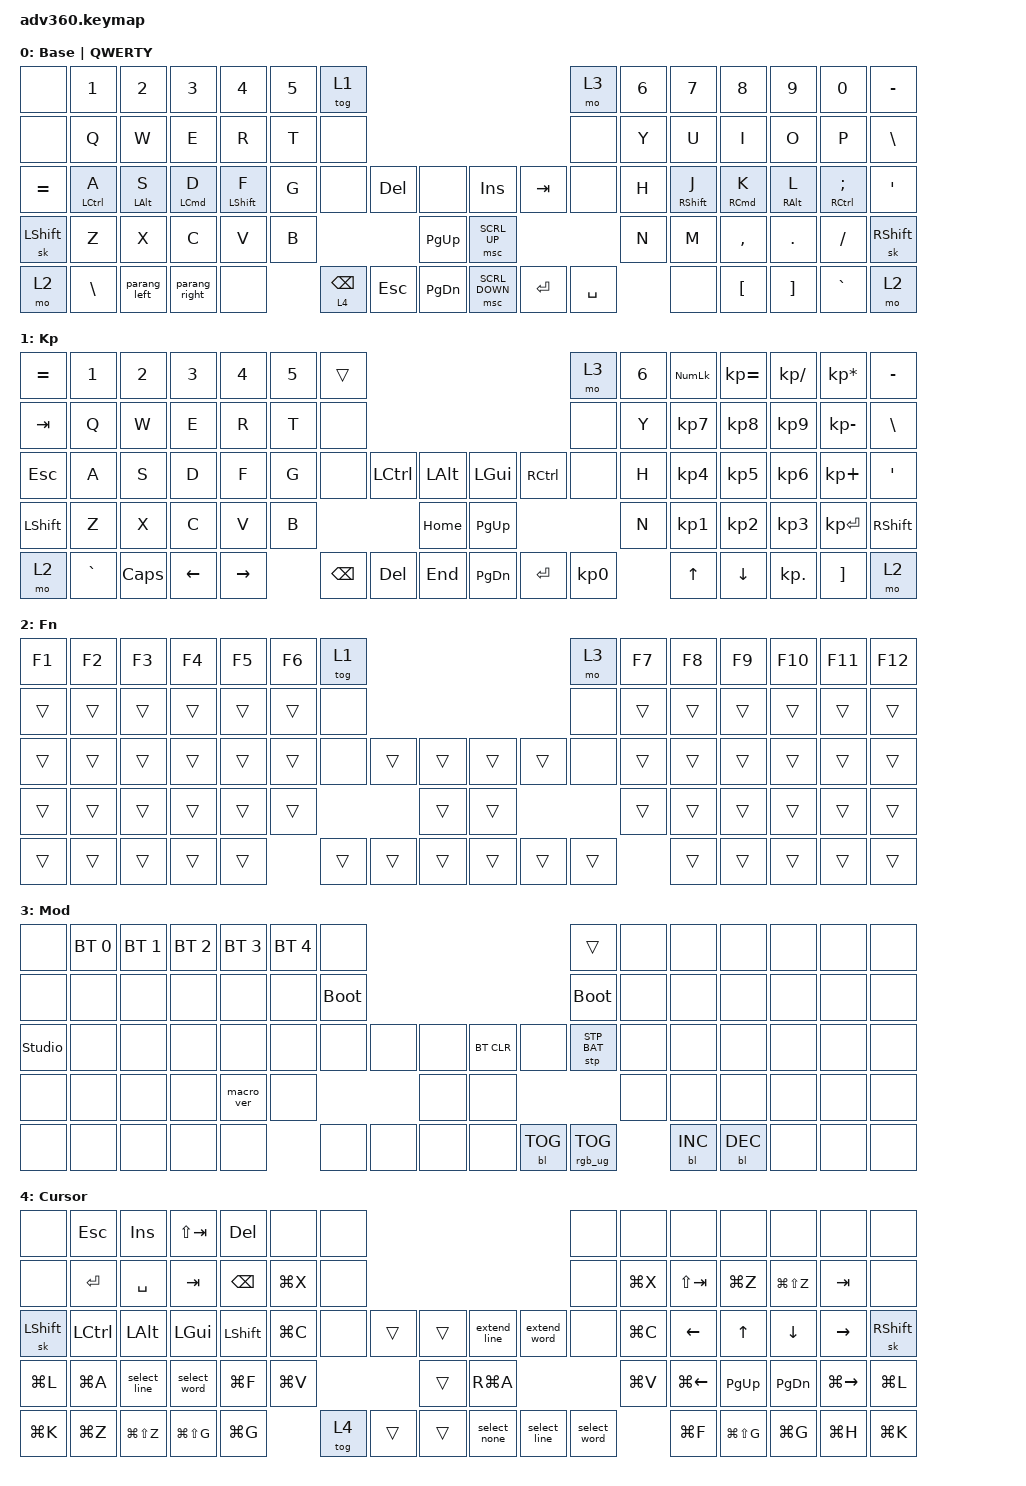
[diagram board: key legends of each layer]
#include <dt-bindings/zmk/stp.h>
#include <behaviors.dtsi>
#include <dt-bindings/zmk/backlight.h>
#include <dt-bindings/zmk/bt.h>
#include <dt-bindings/zmk/keys.h>
#include <dt-bindings/zmk/pointing.h>
#include <dt-bindings/zmk/rgb.h>

/ {
    behaviors {
        #include "macros.dtsi"
        #include "version.dtsi"

        hm: homerow_mods {
            compatible = "zmk,behavior-hold-tap";
            label = "HOMEROW_MODS";
            #binding-cells = <2>;
            tapping-term-ms = <200>;
            quick_tap_ms = <175>;
            flavor = "tap-preferred";
            bindings = <&kp>, <&kp>;
        };

        parang_left: parang_left {
            compatible = "zmk,behavior-mod-morph";
            label = "PARANG_LEFT";
            bindings = <&kp LEFT_PARENTHESIS>, <&kp LESS_THAN>;

            #binding-cells = <0>;
            mods = <(MOD_LSFT|MOD_RSFT)>;
        };

        parang_right: parang_right {
            compatible = "zmk,behavior-mod-morph";
            label = "PARANG_RIGHT";
            bindings = <&kp RIGHT_PARENTHESIS>, <&kp GREATER_THAN>;

            #binding-cells = <0>;
            mods = <(MOD_LSFT|MOD_RSFT)>;
        };

        select_word: select_word {
            compatible = "zmk,behavior-mod-morph";
            label = "SELECT_WORD";
            bindings = <&select_word_right>, <&select_word_left>;

            #binding-cells = <0>;
            mods = <(MOD_LSFT|MOD_RSFT)>;
        };

        select_line: select_line {
            compatible = "zmk,behavior-mod-morph";
            label = "SELECT_LINE";
            bindings = <&select_line_right>, <&select_line_left>;

            #binding-cells = <0>;
            mods = <(MOD_LSFT|MOD_RSFT)>;
        };

        extend_word: extend_word {
            compatible = "zmk,behavior-mod-morph";
            label = "EXTEND_WORD";
            #binding-cells = <0>;
            bindings = <&extend_word_right>, <&extend_word_left>;

            mods = <(MOD_LSFT|MOD_RSFT)>;
        };

        extend_line: extend_line {
            compatible = "zmk,behavior-mod-morph";
            label = "EXTEND_LINE";
            #binding-cells = <0>;
            bindings = <&extend_line_right>, <&extend_line_left>;

            mods = <(MOD_LSFT|MOD_RSFT)>;
        };

        thumb: thumb {
            compatible = "zmk,behavior-hold-tap";
            label = "THUMB";
            bindings = <&mo>, <&kp>;

            #binding-cells = <2>;
            tapping-term-ms = <250>;
            flavor = "balanced";
            quick-tap-ms = <350>;
        };
    };

    macros {
        select_none: select_none {
            compatible = "zmk,behavior-macro";
            #binding-cells = <0>;
            bindings = <&kp DOWN &kp UP &kp RIGHT &kp LEFT>;
            label = "SELECT_NONE";
            wait-ms = <1>;
            tap-ms = <1>;
        };

        select_line_right: select_line_right {
            compatible = "zmk,behavior-macro";
            #binding-cells = <0>;
            bindings = <&kp LG(LEFT) &kp LS(LG(RIGHT))>;
            label = "SELECT_LINE_RIGHT";
            wait-ms = <1>;
            tap-ms = <1>;
        };

        select_line_left: select_line_left {
            compatible = "zmk,behavior-macro";
            #binding-cells = <0>;
            bindings = <&kp RG(RIGHT) &kp LS(LG(LEFT))>;
            label = "SELECT_LINE_LEFT";
            wait-ms = <1>;
            tap-ms = <1>;
        };

        select_word_right: select_word_right {
            compatible = "zmk,behavior-macro";
            #binding-cells = <0>;
            bindings = <&kp LA(RIGHT) &kp LA(LEFT) &kp LS(LA(RIGHT))>;
            label = "SELECT_WORD_RIGHT";
            wait-ms = <1>;
            tap-ms = <1>;
        };

        select_word_left: select_word_left {
            compatible = "zmk,behavior-macro";
            #binding-cells = <0>;
            bindings = <&kp LA(LEFT) &kp LA(RIGHT) &kp LS(LA(LEFT))>;
            label = "SELECT_WORD_LEFT";
            wait-ms = <1>;
            tap-ms = <1>;
        };

        extend_word_right: extend_word_right {
            compatible = "zmk,behavior-macro";
            #binding-cells = <0>;
            bindings = <&kp LS(LA(RIGHT))>;
            label = "EXTEND_WORD_RIGHT";
            wait-ms = <1>;
            tap-ms = <1>;
        };

        extend_word_left: extend_word_left {
            compatible = "zmk,behavior-macro";
            #binding-cells = <0>;
            bindings = <&kp LS(LA(LEFT))>;
            label = "EXTEND_WORD_LEFT";
            wait-ms = <1>;
            tap-ms = <1>;
        };

        extend_line_right: extend_line_right {
            compatible = "zmk,behavior-macro";
            #binding-cells = <0>;
            bindings = <&kp LS(DOWN) &kp LS(LG(RIGHT))>;
            label = "EXTEND_LINE_RIGHT";
            wait-ms = <1>;
            tap-ms = <1>;
        };

        extend_line_left: extend_line_left {
            compatible = "zmk,behavior-macro";
            #binding-cells = <0>;
            bindings = <&kp LS(UP) &kp LS(LG(LEFT))>;
            label = "EXTEND_LINE_LEFT";
            wait-ms = <1>;
            tap-ms = <1>;
        };
    };

    keymap {
        compatible = "zmk,keymap";

        base {
            display-name = "Base | QWERTY";
            bindings = <
&none           &kp N1         &kp N2          &kp N3              &kp N4            &kp N5  &tog 1                                                                     &mo 3      &kp N6  &kp N7             &kp N8               &kp N9             &kp N0                  &kp MINUS
&none           &kp Q          &kp W           &kp E               &kp R             &kp T   &none                                                                      &none      &kp Y   &kp U              &kp I                &kp O              &kp P                   &kp BSLH
&kp EQUAL       &mt LCTRL A    &mt LEFT_ALT S  &mt LEFT_COMMAND D  &mt LEFT_SHIFT F  &kp G   &none            &kp DELETE  &none              &kp INSERT      &kp TAB    &none      &kp H   &mt RIGHT_SHIFT J  &mt RIGHT_COMMAND K  &mt RIGHT_ALT L    &mt RIGHT_CONTROL SEMI  &kp SQT
&sk LEFT_SHIFT  &kp Z          &kp X           &kp C               &kp V             &kp B                                &kp PAGE_UP        &msc SCRL_UP                          &kp N   &kp M              &kp COMMA            &kp DOT            &kp FSLH                &sk RIGHT_SHIFT
&mo 2           &kp BACKSLASH  &parang_left    &parang_right       &none                     &lt 4 BACKSPACE  &kp ESCAPE  &kp PAGE_DOWN      &msc SCRL_DOWN  &kp ENTER  &kp SPACE          &none              &kp LEFT_BRACKET     &kp RIGHT_BRACKET  &kp GRAVE               &mo 2
            >;
        };

        keypad {
            display-name = "Kp";
            bindings = <
&kp EQUAL  &kp N1     &kp N2    &kp N3    &kp N4     &kp N5  &trans                                                   &mo 3      &kp N6  &kp KP_NUM  &kp KP_EQUAL  &kp KP_DIVIDE  &kp KP_MULTIPLY  &kp MINUS
&kp TAB    &kp Q      &kp W     &kp E     &kp R      &kp T   &none                                                    &none      &kp Y   &kp KP_N7   &kp KP_N8     &kp KP_N9      &kp KP_MINUS     &kp BSLH
&kp ESC    &kp A      &kp S     &kp D     &kp F      &kp G   &none     &kp LCTRL  &kp LALT      &kp LGUI   &kp RCTRL  &none      &kp H   &kp KP_N4   &kp KP_N5     &kp KP_N6      &kp KP_PLUS      &kp SQT
&kp LSHFT  &kp Z      &kp X     &kp C     &kp V      &kp B                        &kp HOME      &kp PG_UP                        &kp N   &kp KP_N1   &kp KP_N2     &kp KP_N3      &kp KP_ENTER     &kp RSHFT
&mo 2      &kp GRAVE  &kp CAPS  &kp LEFT  &kp RIGHT          &kp BSPC  &kp DEL    &kp END       &kp PG_DN  &kp ENTER  &kp KP_N0          &kp UP      &kp DOWN      &kp KP_DOT     &kp RBKT         &mo 2
            >;
        };

        fn {
            display-name = "Fn";
            bindings = <
&kp F1  &kp F2  &kp F3  &kp F4  &kp F5  &kp F6  &tog 1                                      &mo 3   &kp F7  &kp F8  &kp F9  &kp F10  &kp F11  &kp F12
&trans  &trans  &trans  &trans  &trans  &trans  &none                                       &none   &trans  &trans  &trans  &trans   &trans   &trans
&trans  &trans  &trans  &trans  &trans  &trans  &none   &trans  &trans      &trans  &trans  &none   &trans  &trans  &trans  &trans   &trans   &trans
&trans  &trans  &trans  &trans  &trans  &trans                  &trans      &trans                  &trans  &trans  &trans  &trans   &trans   &trans
&trans  &trans  &trans  &trans  &trans          &trans  &trans  &trans      &trans  &trans  &trans          &trans  &trans  &trans   &trans   &trans
            >;
        };

        mod {
            display-name = "Mod";
            bindings = <
&none           &bt BT_SEL 0  &bt BT_SEL 1  &bt BT_SEL 2  &bt BT_SEL 3  &bt BT_SEL 4  &none                                                  &trans           &none  &none       &none       &none  &none  &none
&none           &none         &none         &none         &none         &none         &bootloader                                            &bootloader      &none  &none       &none       &none  &none  &none
&studio_unlock  &none         &none         &none         &none         &none         &none        &none  &none      &bt BT_CLR  &none       &stp STP_BAT     &none  &none       &none       &none  &none  &none
&none           &none         &none         &none         &macro_ver    &none                             &none      &none                                    &none  &none       &none       &none  &none  &none
&none           &none         &none         &none         &none                       &none        &none  &none      &none       &bl BL_TOG  &rgb_ug RGB_TOG         &bl BL_INC  &bl BL_DEC  &none  &none  &none
            >;
        };

        cursor {
            display-name = "Cursor";
            bindings = <
&none      &kp ESC           &kp INS        &kp LS(TAB)    &kp DEL    &none      &none                                                   &none         &none      &none         &none          &none          &none          &none
&none      &kp RET           &kp SPACE      &kp TAB        &kp BSPC   &kp LG(X)  &none                                                   &none         &kp LG(X)  &kp LS(TAB)   &kp LG(Z)      &kp LG(LS(Z))  &kp TAB        &none
&sk LSHFT  &kp LEFT_CONTROL  &kp LALT       &kp LGUI       &kp LSHFT  &kp LG(C)  &none   &trans  &trans      &extend_line  &extend_word  &none         &kp LG(C)  &kp LEFT      &kp UP         &kp DOWN       &kp RIGHT      &sk RSHIFT
&kp LG(L)  &kp LG(A)         &select_line   &select_word   &kp LG(F)  &kp LG(V)                  &trans      &kp RG(A)                                 &kp LG(V)  &kp LG(LEFT)  &kp PG_UP      &kp PG_DN      &kp LG(RIGHT)  &kp LG(L)
&kp LG(K)  &kp LG(Z)         &kp LG(LS(Z))  &kp LG(LS(G))  &kp LG(G)             &tog 4  &trans  &trans      &select_none  &select_line  &select_word             &kp LG(F)     &kp LG(LS(G))  &kp LG(G)      &kp LG(H)      &kp LG(K)
            >;
        };
    };
};
